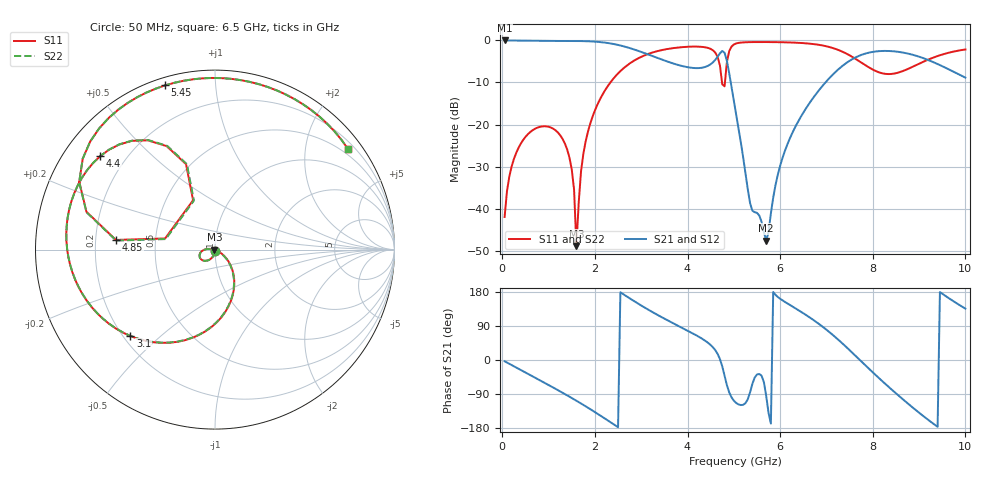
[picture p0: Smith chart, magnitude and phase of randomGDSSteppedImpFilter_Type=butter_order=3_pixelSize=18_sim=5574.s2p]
! freq	dB(S11)	phase(S11)	dB(S12)	phase(S12)
!  dB(S21)	phase(S21)	dB(S22)	phase(S22)
!S-par simulation data
#  GHz  S  DB  R 50
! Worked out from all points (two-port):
!   200 points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, 50 MHz to 10 GHz, reference 50 ohm
!   highest |S21| = -0.01 dB at 50 MHz (marker M1); lowest = -47.6 dB at 5.7 GHz (marker M2)
!   |S21| within 3 dB of the highest: start of sweep to 3.069 GHz; 7.878 GHz to 8.708 GHz (829.6 MHz wide, 10 % of centre) (the widest 2 of 3)
!   lowest |S11| = -48.9 dB at 1.6 GHz (marker M3), VSWR 1.01, Z = 49.6 - j0.0653 ohm
!   |S11| at or under -10 dB: start of sweep to 2.334 GHz; 4.745 GHz to 4.808 GHz (62.76 MHz wide, 1.31 % of centre)
!   |S22| runs from -47.4 to -0.4 dB; largest |S21 - S12| = 0
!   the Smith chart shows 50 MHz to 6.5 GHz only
!   S11 on the Smith chart (normalised r, x): 50 MHz: 1.00, -0.02; 3.1 GHz: 0.23, -0.40; 4.4 GHz: 0.11, +0.35; 4.85 GHz: 0.29, +0.04; 5.45 GHz: 0.03, +0.74; 6.5 GHz: 0.36, +2.94
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0.05  -41.96 -90.6  -0.01 -3.4  -0.01 -3.4  -41.95 -90.6
0.35  -25.54 -112.9  -0.05 -23.1  -0.05 -23.1  -25.53 -112.8
1.05  -20.71 -159.6  -0.13 -69.3  -0.13 -69.3  -20.71 -159.3
1.45  -27.84 174.4  -0.13 -96.7  -0.13 -96.7  -27.82 175.7
1.55  -35.46 170.6  -0.13 -103.8  -0.13 -103.8  -35.37 174.1
1.6  -48.90 -169.4  -0.14 -107.4  -0.14 -107.4  -47.41 -156.2
1.75  -26.97 -31.7  -0.17 -118.4  -0.17 -118.4  -26.97 -33.3
2.4  -9.07 -80.6  -0.84 -169.3  -0.84 -169.3  -9.08 -80.9
3.1  -3.43 -134.4  -3.13 136.5  -3.13 136.5  -3.43 -134.6
3.4  -2.41 -154.9  -4.37 115.8  -4.37 115.8  -2.41 -155.1
4.4  -1.68 140.9  -6.23 49.2  -6.23 49.2  -1.68 140.7
4.75  -10.44 114.0  -2.52 -16.9  -2.52 -16.9  -10.54 113.2
4.85  -5.12 174.4  -4.86 -66.4  -4.86 -66.4  -5.15 174.8
5.05  -0.72 139.0  -17.57 -113.3  -17.57 -113.3  -0.73 139.1
5.45  -0.39 106.9  -40.83 -46.3  -40.83 -46.3  -0.39 106.9
5.7  -0.39 91.0  -47.56 -95.7  -47.56 -95.7  -0.39 91.0
6.5  -0.64 37.1  -17.16 123.4  -17.16 123.4  -0.64 37.2
6.7  -0.84 21.2  -13.85 107.2  -13.85 107.2  -0.84 21.3
7.5  -3.54 -60.1  -4.83 25.9  -4.83 25.9  -3.54 -59.7
8.35  -8.00 -168.2  -2.51 -71.8  -2.51 -71.8  -8.01 -167.8
9.1  -5.03 107.4  -4.25 -148.8  -4.25 -148.8  -5.04 107.4
10  -2.16 33.1  -8.84 135.6  -8.84 135.6  -2.16 32.9
